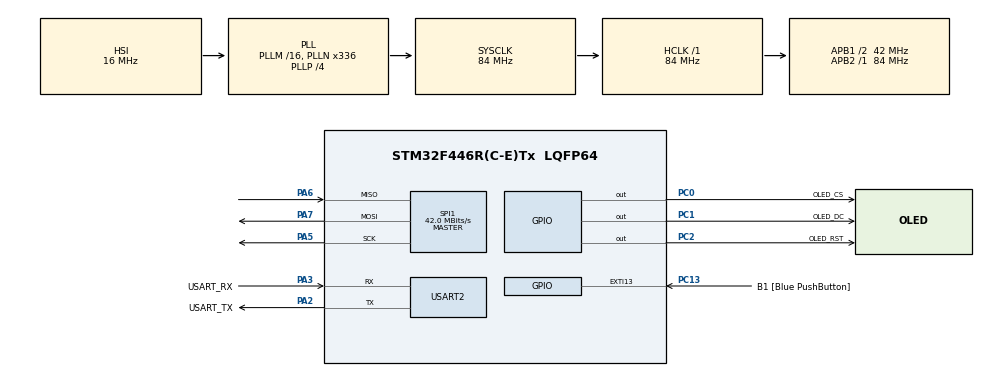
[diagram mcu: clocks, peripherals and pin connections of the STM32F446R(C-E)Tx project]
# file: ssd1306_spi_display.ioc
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Mcu.Family=STM32F4
Mcu.Name=STM32F446R(C-E)Tx
Mcu.Package=LQFP64
NVIC.PriorityGroup=NVIC_PRIORITYGROUP_0
PA13.GPIO_Label=TMS
PA13.Mode=Serial_Wire
PA13.Signal=SYS_JTMS-SWDIO
PA14.GPIO_Label=TCK
PA14.Mode=Serial_Wire
PA14.Signal=SYS_JTCK-SWCLK
PA2.GPIO_Label=USART_TX
PA2.Mode=Asynchronous
PA2.Signal=USART2_TX
PA3.GPIO_Label=USART_RX
PA3.Mode=Asynchronous
PA3.Signal=USART2_RX
PA5.Mode=Full_Duplex_Master
PA5.Signal=SPI1_SCK
PA6.Mode=Full_Duplex_Master
PA6.Signal=SPI1_MISO
PA7.Mode=Full_Duplex_Master
PA7.Signal=SPI1_MOSI
PB3.GPIO_Label=SWO
PB3.Signal=SYS_JTDO-SWO
PC0.GPIO_Label=OLED_CS
PC0.Signal=GPIO_Output
PC1.GPIO_Label=OLED_DC
PC1.Signal=GPIO_Output
PC13.GPIO_Label=B1 [Blue PushButton]
PC13.GPIO_ModeDefaultEXTI=GPIO_MODE_IT_FALLING
PC13.Signal=GPXTI13
PC14-OSC32_IN.Mode=LSE-External-Oscillator
PC14-OSC32_IN.Signal=RCC_OSC32_IN
PC15-OSC32_OUT.Mode=LSE-External-Oscillator
PC15-OSC32_OUT.Signal=RCC_OSC32_OUT
PC2.GPIO_Label=OLED_RST
PC2.Signal=GPIO_Output
PH0-OSC_IN.Mode=HSE-External-Oscillator
PH0-OSC_IN.Signal=RCC_OSC_IN
PH1-OSC_OUT.Mode=HSE-External-Oscillator
PH1-OSC_OUT.Signal=RCC_OSC_OUT
ProjectManager.HeapSize=0x200
ProjectManager.StackSize=0x400
ProjectManager.TargetToolchain=STM32CubeIDE
RCC.48MHZClocksFreq_Value=84000000
RCC.AHBFreq_Value=84000000
RCC.APB1CLKDivider=RCC_HCLK_DIV2
RCC.APB1Freq_Value=42000000
RCC.APB1TimFreq_Value=84000000
RCC.APB2Freq_Value=84000000
RCC.APB2TimFreq_Value=84000000
RCC.CortexFreq_Value=84000000
RCC.FLatency-AdvancedSettings=FLASH_LATENCY_2
RCC.HCLKFreq_Value=84000000
RCC.HSE_VALUE=8000000
RCC.HSI_VALUE=16000000
RCC.PLLN=336
RCC.PLLP=RCC_PLLP_DIV4
RCC.SYSCLKFreq_VALUE=84000000
RCC.SYSCLKSource=RCC_SYSCLKSOURCE_PLLCLK
RCC.USBFreq_Value=168000000
RCC.VCOOutputFreq_Value=336000000
SPI1.CalculateBaudRate=42.0 MBits/s
SPI1.Direction=SPI_DIRECTION_2LINES
SPI1.Mode=SPI_MODE_MASTER
SPI1.VirtualType=VM_MASTER
USART2.VirtualMode=VM_ASYNC
board=NUCLEO-F446RE

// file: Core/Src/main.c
/* USER CODE BEGIN Header */
/**
  ******************************************************************************
  * @file           : main.c
  * @brief          : Main program body
  ******************************************************************************
  * @attention
  *
  * Copyright (c) 2026 STMicroelectronics.
  * All rights reserved.
  *
  * This software is licensed under terms that can be found in the LICENSE file
  * in the root directory of this software component.
  * If no LICENSE file comes with this software, it is provided AS-IS.
  *
  ******************************************************************************
  */
/* USER CODE END Header */
#include "main.h"

/* USER CODE BEGIN Includes */
#include "ssd1306.h"
#include "graphics.h"
#include <stdbool.h>
/* USER CODE END Includes */

SPI_HandleTypeDef hspi1;

UART_HandleTypeDef huart2;

void SystemClock_Config(void);
static void MX_GPIO_Init(void);
static void MX_USART2_UART_Init(void);
static void MX_SPI1_Init(void);

int main(void)
{

  /* USER CODE BEGIN 1 */
	// PINOUT
	// SCK->D13 SDA->D11 RES->PC2 DC->PC1 CS->PC0
  /* USER CODE END 1 */

  /* MCU Configuration--------------------------------------------------------*/

  /* Reset of all peripherals, Initializes the Flash interface and the Systick. */
  HAL_Init();

  /* USER CODE BEGIN Init */
  ssd1306_spi_config_t display1_config;
  ssd1306_spi_t display1;

  display1_config.handle = &hspi1;
  display1_config.cs_pin = OLED_CS_Pin;
  display1_config.cs_port = OLED_CS_GPIO_Port;
  display1_config.dc_pin = OLED_DC_Pin;
  display1_config.dc_port = OLED_DC_GPIO_Port;
  display1_config.rst_pin = OLED_RST_Pin;
  display1_config.rst_port = OLED_RST_GPIO_Port;
  /* USER CODE END Init */

  /* Configure the system clock */
  SystemClock_Config();

  /* Initialize all configured peripherals */
  MX_GPIO_Init();
  MX_USART2_UART_Init();
  MX_SPI1_Init();
  /* USER CODE BEGIN 2 */
  ssd1306_init(&display1, &display1_config);
  uint8_t x = 44;
  uint8_t y = 52;
  uint8_t delay = 25;
  uint32_t animation_time = 10000;

  /* USER CODE END 2 */

  /* Infinite loop */
  while (1)
  {

    /* USER CODE BEGIN 3 */
	  ssd1306_clear_buffer(&display1);
	  draw_string(&display1, 30, 28, "Hello World!");
	  ssd1306_update(&display1);

	  HAL_Delay(5000);

	  bouncing_pixel(&display1, x, y, delay, animation_time);

	  ssd1306_clear_buffer(&display1);
	  draw_rect(&display1, 0, 0, 127, 63);
	  draw_rect(&display1, 10, 5, 117, 58);
	  draw_rect(&display1, 20, 10, 107, 53);
	  draw_rect(&display1, 30, 15, 97, 48);
	  draw_rect(&display1, 40, 20, 87, 43);
	  draw_rect_filled(&display1, 50, 25, 77, 38);
	  ssd1306_update(&display1);

	  HAL_Delay(5000);
  }
  /* USER CODE END 3 */
}

void SystemClock_Config(void)
{
  RCC_OscInitTypeDef RCC_OscInitStruct = {0};
  RCC_ClkInitTypeDef RCC_ClkInitStruct = {0};

  /** Configure the main internal regulator output voltage
  */
  __HAL_RCC_PWR_CLK_ENABLE();
  __HAL_PWR_VOLTAGESCALING_CONFIG(PWR_REGULATOR_VOLTAGE_SCALE3);

  /** Initializes the RCC Oscillators according to the specified parameters
  * in the RCC_OscInitTypeDef structure.
  */
  RCC_OscInitStruct.OscillatorType = RCC_OSCILLATORTYPE_HSI;
  RCC_OscInitStruct.HSIState = RCC_HSI_ON;
  RCC_OscInitStruct.HSICalibrationValue = RCC_HSICALIBRATION_DEFAULT;
  RCC_OscInitStruct.PLL.PLLState = RCC_PLL_ON;
  RCC_OscInitStruct.PLL.PLLSource = RCC_PLLSOURCE_HSI;
  RCC_OscInitStruct.PLL.PLLM = 16;
  RCC_OscInitStruct.PLL.PLLN = 336;
  RCC_OscInitStruct.PLL.PLLP = RCC_PLLP_DIV4;
  RCC_OscInitStruct.PLL.PLLQ = 2;
  RCC_OscInitStruct.PLL.PLLR = 2;
  if (HAL_RCC_OscConfig(&RCC_OscInitStruct) != HAL_OK)
  {
    Error_Handler();
  }

  /** Initializes the CPU, AHB and APB buses clocks
  */
  RCC_ClkInitStruct.ClockType = RCC_CLOCKTYPE_HCLK|RCC_CLOCKTYPE_SYSCLK
                              |RCC_CLOCKTYPE_PCLK1|RCC_CLOCKTYPE_PCLK2;
  RCC_ClkInitStruct.SYSCLKSource = RCC_SYSCLKSOURCE_PLLCLK;
  RCC_ClkInitStruct.AHBCLKDivider = RCC_SYSCLK_DIV1;
  RCC_ClkInitStruct.APB1CLKDivider = RCC_HCLK_DIV2;
  RCC_ClkInitStruct.APB2CLKDivider = RCC_HCLK_DIV1;

  if (HAL_RCC_ClockConfig(&RCC_ClkInitStruct, FLASH_LATENCY_2) != HAL_OK)
  {
    Error_Handler();
  }
}

static void MX_SPI1_Init(void)
{

  /* SPI1 parameter configuration*/
  hspi1.Instance = SPI1;
  hspi1.Init.Mode = SPI_MODE_MASTER;
  hspi1.Init.Direction = SPI_DIRECTION_2LINES;
  hspi1.Init.DataSize = SPI_DATASIZE_8BIT;
  hspi1.Init.CLKPolarity = SPI_POLARITY_LOW;
  hspi1.Init.CLKPhase = SPI_PHASE_1EDGE;
  hspi1.Init.NSS = SPI_NSS_SOFT;
  hspi1.Init.BaudRatePrescaler = SPI_BAUDRATEPRESCALER_2;
  hspi1.Init.FirstBit = SPI_FIRSTBIT_MSB;
  hspi1.Init.TIMode = SPI_TIMODE_DISABLE;
  hspi1.Init.CRCCalculation = SPI_CRCCALCULATION_DISABLE;
  hspi1.Init.CRCPolynomial = 10;
  if (HAL_SPI_Init(&hspi1) != HAL_OK)
  {
    Error_Handler();
  }

}

static void MX_USART2_UART_Init(void)
{

  huart2.Instance = USART2;
  huart2.Init.BaudRate = 115200;
  huart2.Init.WordLength = UART_WORDLENGTH_8B;
  huart2.Init.StopBits = UART_STOPBITS_1;
  huart2.Init.Parity = UART_PARITY_NONE;
  huart2.Init.Mode = UART_MODE_TX_RX;
  huart2.Init.HwFlowCtl = UART_HWCONTROL_NONE;
  huart2.Init.OverSampling = UART_OVERSAMPLING_16;
  if (HAL_UART_Init(&huart2) != HAL_OK)
  {
    Error_Handler();
  }

}

static void MX_GPIO_Init(void)
{
  GPIO_InitTypeDef GPIO_InitStruct = {0};

  /* GPIO Ports Clock Enable */
  __HAL_RCC_GPIOC_CLK_ENABLE();
  __HAL_RCC_GPIOH_CLK_ENABLE();
  __HAL_RCC_GPIOA_CLK_ENABLE();
  __HAL_RCC_GPIOB_CLK_ENABLE();

  /*Configure GPIO pin Output Level */
  HAL_GPIO_WritePin(GPIOC, OLED_CS_Pin|OLED_DC_Pin|OLED_RST_Pin, GPIO_PIN_RESET);

  /*Configure GPIO pin : B1_Pin */
  GPIO_InitStruct.Pin = B1_Pin;
  GPIO_InitStruct.Mode = GPIO_MODE_IT_FALLING;
  GPIO_InitStruct.Pull = GPIO_NOPULL;
  HAL_GPIO_Init(B1_GPIO_Port, &GPIO_InitStruct);

  /*Configure GPIO pins : OLED_CS_Pin OLED_DC_Pin OLED_RST_Pin */
  GPIO_InitStruct.Pin = OLED_CS_Pin|OLED_DC_Pin|OLED_RST_Pin;
  GPIO_InitStruct.Mode = GPIO_MODE_OUTPUT_PP;
  GPIO_InitStruct.Pull = GPIO_NOPULL;
  GPIO_InitStruct.Speed = GPIO_SPEED_FREQ_LOW;
  HAL_GPIO_Init(GPIOC, &GPIO_InitStruct);

}

void Error_Handler(void)
{
  __disable_irq();
  while (1)
  {
  }
}
